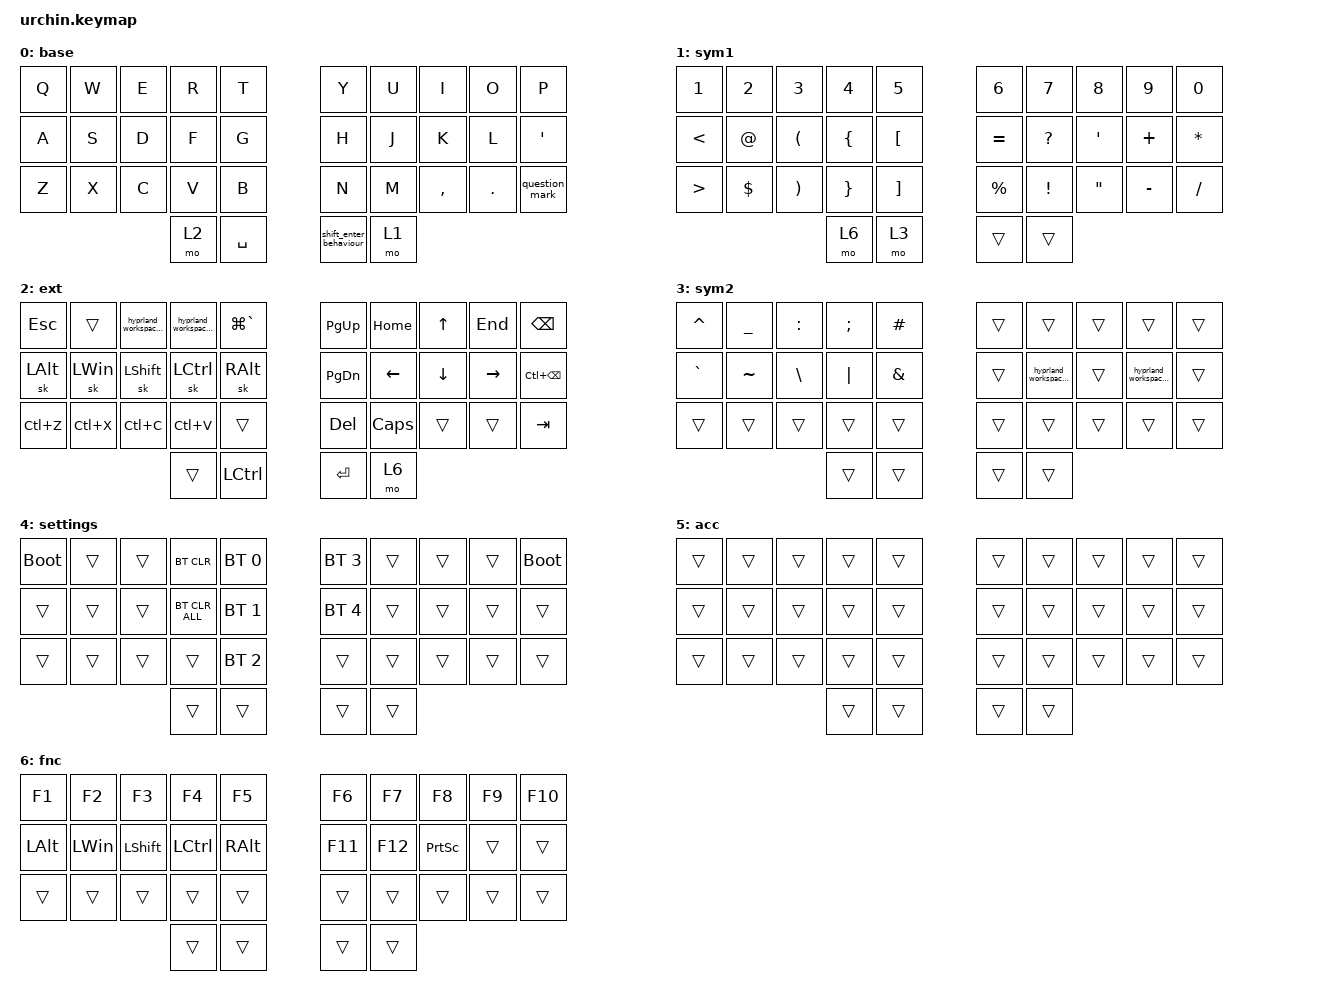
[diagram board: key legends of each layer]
/*
 * Copyright (c) 2020 duckyb
 *
 * SPDX-License-Identifier: MIT
 */

#include <behaviors.dtsi>
#include <dt-bindings/zmk/bt.h>
#include <dt-bindings/zmk/keys.h>

// Layer definitions

#define BASE 0
#define SYM 1
#define EXT 2
#define FNC 3
#define SYM2 4
#define ACCENT 5
#define SETTINGS 6

// -----------------

/ {
    behaviors {
        // Enables holding the first mod-tap key
        // by performing a tap-release-hold sequence.
        // To use it: "&qt KEYCODE1 KEYCODE2"

        question_mark: question_mark {
            compatible = "zmk,behavior-tap-dance";
            label = "QUESTION_MARK";
            #binding-cells = <0>;
            bindings = <&kp SLASH>, <&kp QUESTION>, <&kp COLON>;
        };

        esc_behaviour: esc_behaviour {
            compatible = "zmk,behavior-tap-dance";
            label = "ESC_BEHAVIOUR";
            #binding-cells = <0>;
            bindings = <&kp Q>, <&kp ESCAPE>;
        };

        shift_enter_behaviour: shift_enter_behaviour {
            compatible = "zmk,behavior-tap-dance";
            label = "SHIFT_ENTER_BEHAVIOUR";
            #binding-cells = <0>;
            bindings = <&kp ENTER>, <&kp LEFT_SHIFT>;
        };

        substitute_s: substitute_s {
            compatible = "zmk,behavior-tap-dance";
            label = "SUBSTITUTE_S";
            #binding-cells = <0>;
            bindings = <&kp D>, <&kp S>;
        };
    };

    macros {
        // sometimes my device thinks a modifier is being held down
        // pressing all modifiers fixes it.

        hyprland_workspace_left: hyprland_workspace_left {
            compatible = "zmk,behavior-macro";
            #binding-cells = <0>;
            bindings = <&kp LG(LA(H))>;
            label = "HYPRLAND_WORKSPACE_LEFT";
        };

        hyprland_workspace_right: hyprland_workspace_right {
            compatible = "zmk,behavior-macro";
            #binding-cells = <0>;
            bindings = <&kp LG(LA(L))>;
            label = "HYPRLAND_WORKSPACE_RIGHT";
        };
    };

    combos {
        compatible = "zmk,combos";

        // both right thumb keys
        // internal-left & external-right thumb keys
        // both left thumb keys
        // left index & middle fingers (home-row)
        // hold control & space for Adobe workflow

        settings_combo {
            bindings = <&mo 4>;
            key-positions = <30 31>;
        };
    };

    keymap {
        compatible = "zmk,keymap";

        // Base alpha layer

        base {
            bindings = <
&kp Q  &kp W  &kp E  &kp R  &kp T      &kp Y                   &kp U  &kp I      &kp O       &kp P
&kp A  &kp S  &kp D  &kp F  &kp G      &kp H                   &kp J  &kp K      &kp L       &kp APOSTROPHE
&kp Z  &kp X  &kp C  &kp V  &kp B      &kp N                   &kp M  &kp COMMA  &kp PERIOD  &question_mark
                     &mo 2  &kp SPACE  &shift_enter_behaviour  &mo 1
            >;
        };

        sym1 {
            bindings = <
&kp NUMBER_1      &kp NUMBER_2  &kp NUMBER_3           &kp NUMBER_4     &kp N5             &kp NUMBER_6  &kp N7           &kp N8             &kp N9     &kp N0
&kp LESS_THAN     &kp AT_SIGN   &kp LEFT_PARENTHESIS   &kp LEFT_BRACE   &kp LEFT_BRACKET   &kp EQUAL     &kp QUESTION     &kp APOS           &kp PLUS   &kp ASTERISK
&kp GREATER_THAN  &kp DOLLAR    &kp RIGHT_PARENTHESIS  &kp RIGHT_BRACE  &kp RIGHT_BRACKET  &kp PERCENT   &kp EXCLAMATION  &kp DOUBLE_QUOTES  &kp MINUS  &kp SLASH
                                                       &mo 6            &mo 3              &trans        &trans
            >;
        };

        ext {
            bindings = <
&kp ESCAPE    &trans        &hyprland_workspace_left  &hyprland_workspace_right  &kp LG(GRAVE)     &kp PAGE_UP    &kp HOME        &kp UP_ARROW    &kp END          &kp BACKSPACE
&sk LEFT_ALT  &sk LEFT_WIN  &sk LEFT_SHIFT            &sk LEFT_CONTROL           &sk RIGHT_ALT     &kp PAGE_DOWN  &kp LEFT_ARROW  &kp DOWN_ARROW  &kp RIGHT_ARROW  &kp LC(BACKSPACE)
&kp LC(Z)     &kp LC(X)     &kp LC(C)                 &kp LC(V)                  &trans            &kp DELETE     &kp CAPSLOCK    &trans          &trans           &kp TAB
                                                      &trans                     &kp LEFT_CONTROL  &kp ENTER      &mo 6
            >;
        };

        sym2 {
            bindings = <
&kp CARET  &kp UNDERSCORE  &kp COLON      &kp SEMI  &kp HASH       &trans  &trans                    &trans  &trans                     &trans
&kp GRAVE  &kp TILDE       &kp BACKSLASH  &kp PIPE  &kp AMPERSAND  &trans  &hyprland_workspace_left  &trans  &hyprland_workspace_right  &trans
&trans     &trans          &trans         &trans    &trans         &trans  &trans                    &trans  &trans                     &trans
                                          &trans    &trans         &trans  &trans
            >;
        };

        settings {
            bindings = <
&bootloader  &trans  &trans  &bt BT_CLR      &bt BT_SEL 0  &bt BT_SEL 3  &trans  &trans  &trans  &bootloader
&trans       &trans  &trans  &bt BT_CLR_ALL  &bt BT_SEL 1  &bt BT_SEL 4  &trans  &trans  &trans  &trans
&trans       &trans  &trans  &trans          &bt BT_SEL 2  &trans        &trans  &trans  &trans  &trans
                             &trans          &trans        &trans        &trans
            >;
        };

        acc {
            bindings = <
&trans  &trans  &trans  &trans  &trans  &trans  &trans  &trans  &trans  &trans
&trans  &trans  &trans  &trans  &trans  &trans  &trans  &trans  &trans  &trans
&trans  &trans  &trans  &trans  &trans  &trans  &trans  &trans  &trans  &trans
                        &trans  &trans  &trans  &trans
            >;
        };

        fnc {
            bindings = <
&kp F1        &kp F2        &kp F3          &kp F4            &kp F5         &kp F6   &kp F7   &kp F8           &kp F9  &kp F10
&kp LEFT_ALT  &kp LEFT_WIN  &kp LEFT_SHIFT  &kp LEFT_CONTROL  &kp RIGHT_ALT  &kp F11  &kp F12  &kp PRINTSCREEN  &trans  &trans
&trans        &trans        &trans          &trans            &trans         &trans   &trans   &trans           &trans  &trans
                                            &trans            &trans         &trans   &trans
            >;
        };

        // Numbers and high frequency symbols
        // Main modifiers and arrow keys
        // Function keys with modifiers
        // Low frequency symbols.
        // Used to type regional accents.
        // Used to change the keyboard's settings.media {};
    };

    conditional_layers { compatible = "zmk,conditional-layers"; };
};
